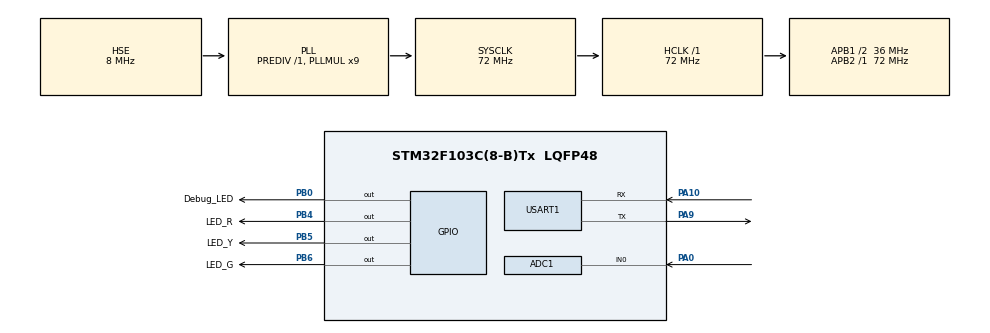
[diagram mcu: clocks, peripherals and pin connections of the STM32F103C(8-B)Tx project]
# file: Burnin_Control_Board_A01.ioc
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ADC1.Channel-0\#ChannelRegularConversion=ADC_CHANNEL_0
ADC1.NbrOfConversionFlag=1
ADC1.Rank-0\#ChannelRegularConversion=1
ADC1.SamplingTime-0\#ChannelRegularConversion=ADC_SAMPLETIME_1CYCLE_5
ADC1.master=1
Mcu.Family=STM32F1
Mcu.Name=STM32F103C(8-B)Tx
Mcu.Package=LQFP48
NVIC.PriorityGroup=NVIC_PRIORITYGROUP_4
NVIC.TIM2_IRQn=true\:0\:0\:false\:false\:true\:true\:true\:true
NVIC.USART1_IRQn=true\:1\:0\:true\:false\:true\:true\:true\:true
PA0-WKUP.Signal=ADCx_IN0
PA10.Mode=Asynchronous
PA10.Signal=USART1_RX
PA13.Mode=Serial_Wire
PA13.Signal=SYS_JTMS-SWDIO
PA14.Mode=Serial_Wire
PA14.Signal=SYS_JTCK-SWCLK
PA9.Mode=Asynchronous
PA9.Signal=USART1_TX
PB0.GPIO_Label=Debug_LED
PB0.Signal=GPIO_Output
PB4.GPIO_Label=LED_R
PB4.Signal=GPIO_Output
PB5.GPIO_Label=LED_Y
PB5.Signal=GPIO_Output
PB6.GPIO_Label=LED_G
PB6.Signal=GPIO_Output
PD0-OSC_IN.Mode=HSE-External-Oscillator
PD0-OSC_IN.Signal=RCC_OSC_IN
PD1-OSC_OUT.Mode=HSE-External-Oscillator
PD1-OSC_OUT.Signal=RCC_OSC_OUT
ProjectManager.HeapSize=0x200
ProjectManager.StackSize=0x400
ProjectManager.TargetToolchain=MDK-ARM V5
RCC.ADCPresc=RCC_ADCPCLK2_DIV6
RCC.AHBFreq_Value=72000000
RCC.APB1CLKDivider=RCC_HCLK_DIV2
RCC.APB1Freq_Value=36000000
RCC.APB1TimFreq_Value=72000000
RCC.APB2Freq_Value=72000000
RCC.APB2TimFreq_Value=72000000
RCC.HCLKFreq_Value=72000000
RCC.PLLMUL=RCC_PLL_MUL9
RCC.PLLSourceVirtual=RCC_PLLSOURCE_HSE
RCC.SYSCLKFreq_VALUE=72000000
RCC.SYSCLKSource=RCC_SYSCLKSOURCE_PLLCLK
RCC.USBFreq_Value=72000000
SH.ADCx_IN0.0=ADC1_IN0,IN0
TIM2.Period=720-1
TIM2.Prescaler=9999
USART1.VirtualMode=VM_ASYNC
VP_TIM2_VS_ClockSourceINT.Mode=Internal
board=custom

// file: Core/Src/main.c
/* USER CODE BEGIN Header */
/**
  ******************************************************************************
  * @file           : main.c
  * @brief          : Main program body
  ******************************************************************************
  * @attention
  *
  * <h2><center>&copy; Copyright (c) 2022 STMicroelectronics.
  * All rights reserved.</center></h2>
  *
  * This software component is licensed by ST under BSD 3-Clause license,
  * the "License"; You may not use this file except in compliance with the
  * License. You may obtain a copy of the License at:
  *                        opensource.org/licenses/BSD-3-Clause
  *
  ******************************************************************************
  */
/* USER CODE END Header */
#include "main.h"
#include "adc.h"
#include "tim.h"
#include "usart.h"
#include "gpio.h"

/* USER CODE BEGIN PTD */
uint16_t led_count=0;
/* USER CODE END PTD */

void SystemClock_Config(void);

int main(void)
{

  /* MCU Configuration--------------------------------------------------------*/

  /* Reset of all peripherals, Initializes the Flash interface and the Systick. */
  HAL_Init();

  /* Configure the system clock */
  SystemClock_Config();

  /* Initialize all configured peripherals */
  MX_GPIO_Init();
  MX_ADC1_Init();
  MX_USART1_UART_Init();
  MX_TIM2_Init();
  /* USER CODE BEGIN 2 */
  HAL_TIM_Base_Start_IT(&htim2);
  SET_VAL();
  /* USER CODE END 2 */

  /* Infinite loop */
  /* USER CODE BEGIN WHILE */
  while (1)
  {
	USART_protocol_parsing();
    if(time_flag==1&&Help_Flag==0)
		 {
			LED_DISPALY();
			time_flag=0;
			if(Busy_Flag==1)
				{
					if(count>10)
					{
					  count=0;
					  HAL_GPIO_TogglePin(LED_R_GPIO_Port,LED_R_Pin);
					}
				}
          else if(Busy_Flag==2)
				{
					if(count>10)
					{
					  count=0;
					  HAL_GPIO_TogglePin(LED_Y_GPIO_Port,LED_Y_Pin);
					}
				}
		 }
    /* USER CODE END WHILE */

  }
}

void SystemClock_Config(void)
{
  RCC_OscInitTypeDef RCC_OscInitStruct = {0};
  RCC_ClkInitTypeDef RCC_ClkInitStruct = {0};
  RCC_PeriphCLKInitTypeDef PeriphClkInit = {0};

  /** Initializes the RCC Oscillators according to the specified parameters
  * in the RCC_OscInitTypeDef structure.
  */
  RCC_OscInitStruct.OscillatorType = RCC_OSCILLATORTYPE_HSE;
  RCC_OscInitStruct.HSEState = RCC_HSE_ON;
  RCC_OscInitStruct.HSEPredivValue = RCC_HSE_PREDIV_DIV1;
  RCC_OscInitStruct.HSIState = RCC_HSI_ON;
  RCC_OscInitStruct.PLL.PLLState = RCC_PLL_ON;
  RCC_OscInitStruct.PLL.PLLSource = RCC_PLLSOURCE_HSE;
  RCC_OscInitStruct.PLL.PLLMUL = RCC_PLL_MUL9;
  if (HAL_RCC_OscConfig(&RCC_OscInitStruct) != HAL_OK)
  {
    Error_Handler();
  }

  /** Initializes the CPU, AHB and APB buses clocks
  */
  RCC_ClkInitStruct.ClockType = RCC_CLOCKTYPE_HCLK|RCC_CLOCKTYPE_SYSCLK
                              |RCC_CLOCKTYPE_PCLK1|RCC_CLOCKTYPE_PCLK2;
  RCC_ClkInitStruct.SYSCLKSource = RCC_SYSCLKSOURCE_PLLCLK;
  RCC_ClkInitStruct.AHBCLKDivider = RCC_SYSCLK_DIV1;
  RCC_ClkInitStruct.APB1CLKDivider = RCC_HCLK_DIV2;
  RCC_ClkInitStruct.APB2CLKDivider = RCC_HCLK_DIV1;

  if (HAL_RCC_ClockConfig(&RCC_ClkInitStruct, FLASH_LATENCY_2) != HAL_OK)
  {
    Error_Handler();
  }
  PeriphClkInit.PeriphClockSelection = RCC_PERIPHCLK_ADC;
  PeriphClkInit.AdcClockSelection = RCC_ADCPCLK2_DIV6;
  if (HAL_RCCEx_PeriphCLKConfig(&PeriphClkInit) != HAL_OK)
  {
    Error_Handler();
  }
}

void Error_Handler(void)
{
  __disable_irq();
  while (1)
  {
  }
}
